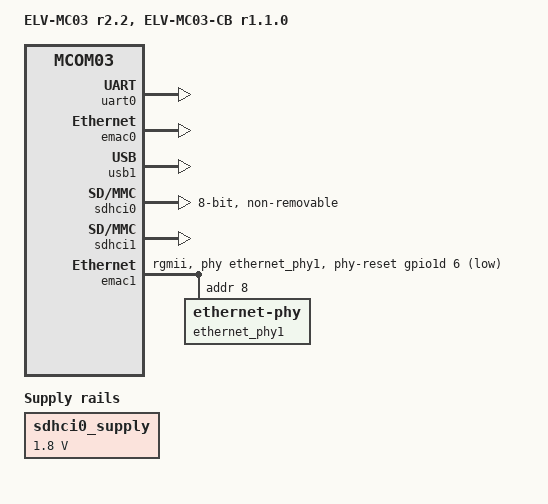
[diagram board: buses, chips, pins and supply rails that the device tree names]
// SPDX-License-Identifier: GPL-2.0+
/*
 * Copyright 2022 RnD Center "ELVEES", JSC
 */

/dts-v1/;

#include "mcom03-elvmc03-r2.2.dtsi"

#include <dt-bindings/net/ti-dp83867.h>

/ {
	model = "ELV-MC03 r2.2, ELV-MC03-CB r1.1.0";
	compatible = "elvees,elvmc03-r2.2-elvmc03cb-r1.1.0",
		     "elvees,elvmc03-elvmc03cb",
		     "elvees,elvmc03cb-r1.1.0",
		     "elvees,elvmc03cb",
		     "elvees,elvmc03-r2.2",
		     "elvees,elvmc03",
		     "elvees,mcom03";

	chosen {
		stdout-path = "serial0:115200n8";
	};

	sdhci0_supply: regulator@0 {
		compatible = "regulator-fixed";
		regulator-name = "sdhci0-supply";
		regulator-min-microvolt = <1800000>;
		regulator-max-microvolt = <1800000>;
		regulator-always-on;
	};
};

&uart0 {
	status = "okay";
	clock-frequency = <27920454>;
};

&emac0 {
	status = "okay";
};

/* Connected to USB hub */
&usb1 {
	status = "okay";
};

&sdhci0 {
	status = "okay";

	non-removable;
	bus-width = <8>;
	vqmmc-supply = <&sdhci0_supply>;
};

&sdhci1 {
	status = "okay";

	/* Disable 1.8V support
	 * Disable SDR50, SDR104 and DDR50 support
	 */
	sdhci-caps-mask = <0x7 0x4000000>;
	sdhci-caps = <0x0 0x0>;
};

&emac1 {
	status = "okay";
	phy-mode = "rgmii";
	phy-handle = <&ethernet_phy1>;
	phy-reset-gpios = <&gpio1d 6 GPIO_ACTIVE_LOW>;
	elvees,pads-1v8-en;

	/* TODO: Remove this extra PHY reset cycle.
	 * DP83867 has to be reset twice on this module.
	 * The reason is currently unknown.
	 */
	elvees,extra-phy-reset-cycle;

	ethernet_phy1: ethernet-phy@8 {
		reg = <0x8>;
		ti,rx-internal-delay = <DP83867_RGMIIDCTL_2_50_NS>;
		ti,tx-internal-delay = <DP83867_RGMIIDCTL_2_50_NS>;
		ti,fifo-depth = <DP83867_PHYCR_FIFO_DEPTH_4_B_NIB>;
	};
};
